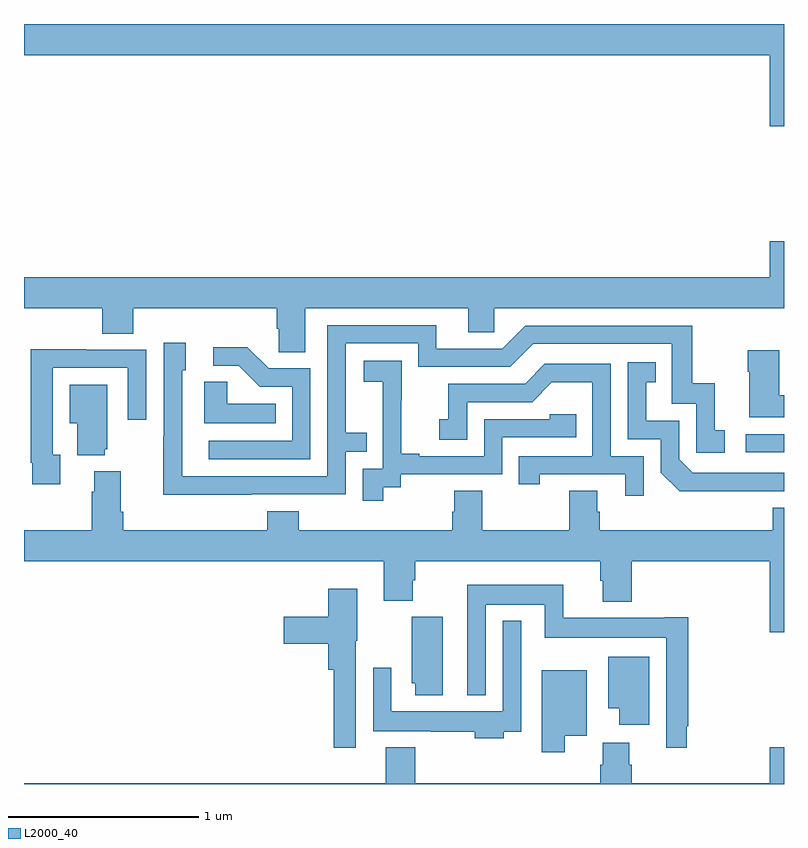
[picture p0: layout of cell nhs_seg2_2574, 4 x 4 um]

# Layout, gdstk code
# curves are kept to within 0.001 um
import gdstk
lib = gdstk.Library(unit=1e-6, precision=1e-09)
def R(c, l, rs):  # rectangles x0, y0, x1, y1
    for r in rs: c.add(gdstk.rectangle(r[:2], r[2:], *l))
def P(c, l, *ps):  # polygons
    for p in ps: c.add(gdstk.Polygon(p, *l))
L2000_40 = (2000, 40)

nhs_seg2_2574 = lib.new_cell('nhs_seg2_2574')
R(nhs_seg2_2574, L2000_40, [(248.799,645.546,249,645.642)])
P(nhs_seg2_2574, L2000_40, [(249,647.8),(245,647.8),(245,647.636),(248.924,647.636),(248.924,647.262),(249,647.262)],
  [(246.481,646.304),(247.337,646.304),(247.337,646.177),(247.476,646.177),(247.476,646.304),(249,646.304),(249,646.657),(248.924,646.657),(248.924,646.468),(245,646.468),(245,646.304),(245.411,646.304),(245.411,646.171),(245.576,646.171),(245.576,646.304),(246.329,646.304),(246.329,646.195),(246.342,646.195),(246.342,646.072),(246.481,646.072)],
  [(246.197,645.324),(246.693,645.324),(246.693,645.549),(246.803,645.549),(246.803,645.65),(246.693,645.65),(246.693,646.119),(247.074,646.119),(247.074,645.996),(247.56,645.996),(247.68,646.116),(248.409,646.116),(248.409,645.801),(248.538,645.801),(248.538,645.543),(248.689,645.543),(248.689,645.663),(248.636,645.663),(248.636,645.91),(248.518,645.91),(248.518,646.212),(247.638,646.212),(247.518,646.092),(247.171,646.092),(247.171,646.215),(246.597,646.215),(246.597,645.42),(245.832,645.42),(245.832,645.978),(245.851,645.978),(245.851,646.123),(245.736,646.123),(245.736,645.629),(245.734,645.629),(245.734,645.323)],
  [(246.507,645.987),(246.288,645.987),(246.175,646.1),(245.997,646.1),(245.997,646.002),(246.131,646.002),(246.242,645.891),(246.411,645.891),(246.411,645.606),(245.973,645.606),(245.973,645.51),(246.507,645.51)],
  [(245.191,645.534),(245.151,645.534),(245.151,645.99),(245.547,645.99),(245.547,645.717),(245.643,645.717),(245.643,646.086),(245.327,646.086),(245.327,646.088),(245.035,646.088),(245.035,645.49),(245.043,645.49),(245.043,645.378),(245.191,645.378)],
  [(249,645.845),(248.974,645.845),(248.974,646.084),(248.809,646.084),(248.809,645.971),(248.816,645.971),(248.816,645.731),(249,645.731)],
  [(246.892,645.361),(246.984,645.361),(246.984,645.429),(247.518,645.429),(247.518,645.624),(247.907,645.624),(247.907,645.747),(247.767,645.747),(247.767,645.72),(247.422,645.72),(247.422,645.525),(247.081,645.525),(247.081,645.538),(246.986,645.538),(246.986,645.821),(246.987,645.821),(246.987,646.027),(246.789,646.027),(246.789,645.917),(246.887,645.917),(246.887,645.689),(246.888,645.689),(246.888,645.459),(246.783,645.459),(246.783,645.291),(246.892,645.291)],
  [(248.858,645.342),(249,645.342),(249,645.438),(248.52,645.438),(248.448,645.51),(248.448,645.711),(248.275,645.711),(248.275,645.915),(248.324,645.915),(248.324,646.021),(248.178,646.021),(248.178,645.615),(248.352,645.615),(248.352,645.438),(248.45,645.341)],
  [(248.262,645.525),(248.088,645.525),(248.088,646.011),(247.742,646.011),(247.637,645.906),(247.234,645.906),(247.234,645.721),(247.185,645.721),(247.185,645.612),(247.332,645.612),(247.332,645.81),(247.674,645.81),(247.778,645.914),(247.992,645.914),(247.992,645.525),(247.603,645.525),(247.603,645.378),(247.714,645.378),(247.714,645.429),(248.165,645.429),(248.165,645.318),(248.262,645.318)],
  [(246.326,645.802),(246.069,645.802),(246.069,645.917),(245.948,645.917),(245.948,645.698),(246.326,645.698)],
  [(245.426,645.561),(245.437,645.561),(245.437,645.901),(245.24,645.901),(245.24,645.698),(245.279,645.698),(245.279,645.53),(245.426,645.53)],
  [(249,645.253),(248.942,645.253),(248.942,645.136),(248.03,645.136),(248.03,645.234),(248.017,645.234),(248.017,645.344),(247.87,645.344),(247.87,645.136),(247.413,645.136),(247.413,645.344),(247.265,645.344),(247.265,645.234),(247.253,645.234),(247.253,645.136),(246.446,645.136),(246.446,645.235),(246.281,645.235),(246.281,645.136),(245.522,645.136),(245.522,645.232),(245.509,645.232),(245.509,645.445),(245.369,645.445),(245.369,645.338),(245.357,645.338),(245.357,645.136),(245,645.136),(245,644.972),(246.893,644.972),(246.893,644.764),(247.045,644.764),(247.045,644.873),(247.058,644.873),(247.058,644.972),(248.033,644.972),(248.033,644.871),(248.045,644.871),(248.045,644.759),(248.198,644.759),(248.198,644.972),(248.924,644.972),(248.924,644.598),(249,644.598)],
  [(248.488,644.104),(248.495,644.104),(248.495,644.677),(248.372,644.677),(248.372,644.674),(247.838,644.674),(247.838,644.848),(247.334,644.848),(247.334,644.267),(247.431,644.267),(247.431,644.744),(247.74,644.744),(247.74,644.57),(248.379,644.57),(248.379,643.992),(248.488,643.992)],
  [(246.747,644.553),(246.754,644.553),(246.754,644.827),(246.602,644.827),(246.602,644.679),(246.366,644.679),(246.366,644.537),(246.602,644.537),(246.602,644.402),(246.631,644.402),(246.631,643.992),(246.747,643.992)],
  [(247.204,644.679),(247.04,644.679),(247.04,644.331),(247.058,644.331),(247.058,644.268),(247.204,644.268)],
  [(247.525,644.076),(247.617,644.076),(247.617,644.659),(247.521,644.659),(247.521,644.182),(246.933,644.182),(246.933,644.413),(246.837,644.413),(246.837,644.078),(247.141,644.078),(247.141,644.076),(247.373,644.076),(247.373,644.042),(247.525,644.042)],
  [(248.29,644.47),(248.075,644.47),(248.075,644.198),(248.132,644.198),(248.132,644.112),(248.29,644.112)],
  [(247.846,644.054),(247.963,644.054),(247.963,644.398),(247.724,644.398),(247.724,643.968),(247.846,643.968)],
  [(249,643.993),(248.924,643.993),(248.924,643.804),(248.198,643.804),(248.198,643.902),(248.185,643.902),(248.185,644.017),(248.045,644.017),(248.045,643.902),(248.033,643.902),(248.033,643.804),(247.058,643.804),(247.058,643.993),(246.905,643.993),(246.905,643.804),(245,643.804),(245,643.8),(249,643.8)])

lib.write_gds('nhs_seg2_2574.gds')
